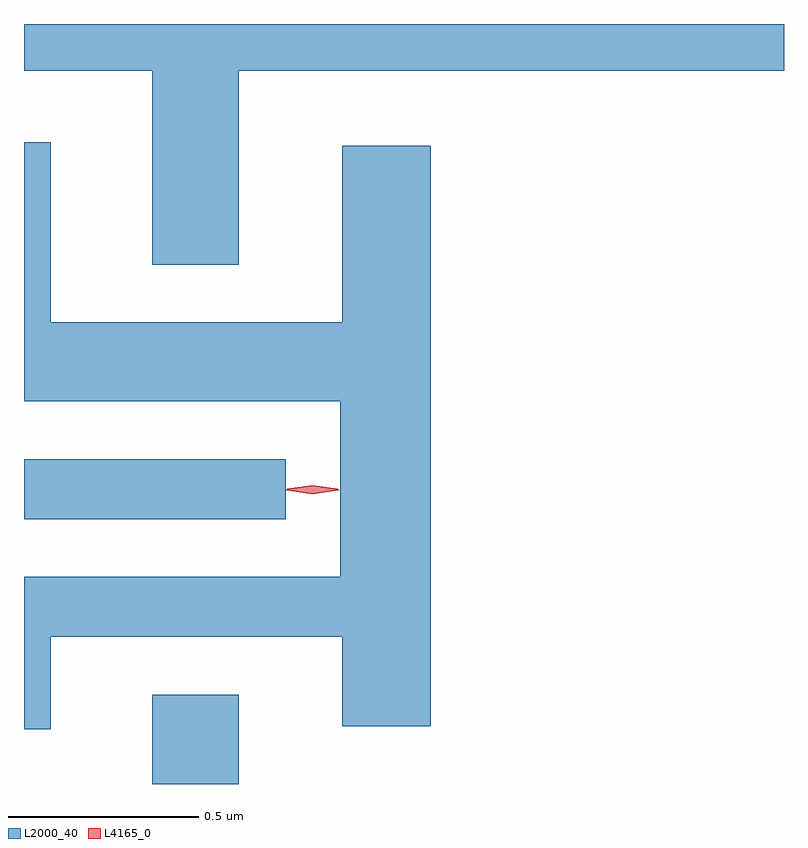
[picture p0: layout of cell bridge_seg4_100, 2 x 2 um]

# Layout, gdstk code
import gdstk
lib = gdstk.Library(unit=1e-6, precision=1e-09)
def R(c, l, rs):  # rectangles x0, y0, x1, y1
    for r in rs: c.add(gdstk.rectangle(r[:2], r[2:], *l))
def P(c, l, *ps):  # polygons
    for p in ps: c.add(gdstk.Polygon(p, *l))
L2000_40 = (2000, 40)
L4165_0 = (4165, 0)

bridge_seg4_100 = lib.new_cell('bridge_seg4_100')
R(bridge_seg4_100, L2000_40, [(989.911,1366.119,990.139,1366.354), (989.574,1366.816,990.263,1366.974)])
P(bridge_seg4_100, L2000_40, [(990.139,1367.996),(991.574,1367.996),(991.574,1368.119),(989.574,1368.119),(989.574,1367.996),(989.911,1367.996),(989.911,1367.486),(990.139,1367.486)],
  [(989.644,1366.506),(990.411,1366.506),(990.411,1366.271),(990.644,1366.271),(990.644,1367.799),(990.411,1367.799),(990.411,1367.334),(989.644,1367.334),(989.644,1367.808),(989.574,1367.808),(989.574,1367.126),(990.406,1367.126),(990.406,1366.664),(989.574,1366.664),(989.574,1366.263),(989.644,1366.263)])
P(bridge_seg4_100, L4165_0, [(990.333,1366.882),(990.264,1366.892),(990.263,1366.892),(990.264,1366.893),(990.333,1366.902),(990.402,1366.893),(990.403,1366.892),(990.402,1366.892)],
  [(990.333,1366.885),(990.267,1366.894),(990.267,1366.895),(990.267,1366.896),(990.333,1366.905),(990.399,1366.896),(990.399,1366.895),(990.399,1366.894)])

lib.write_gds('bridge_seg4_100.gds')
